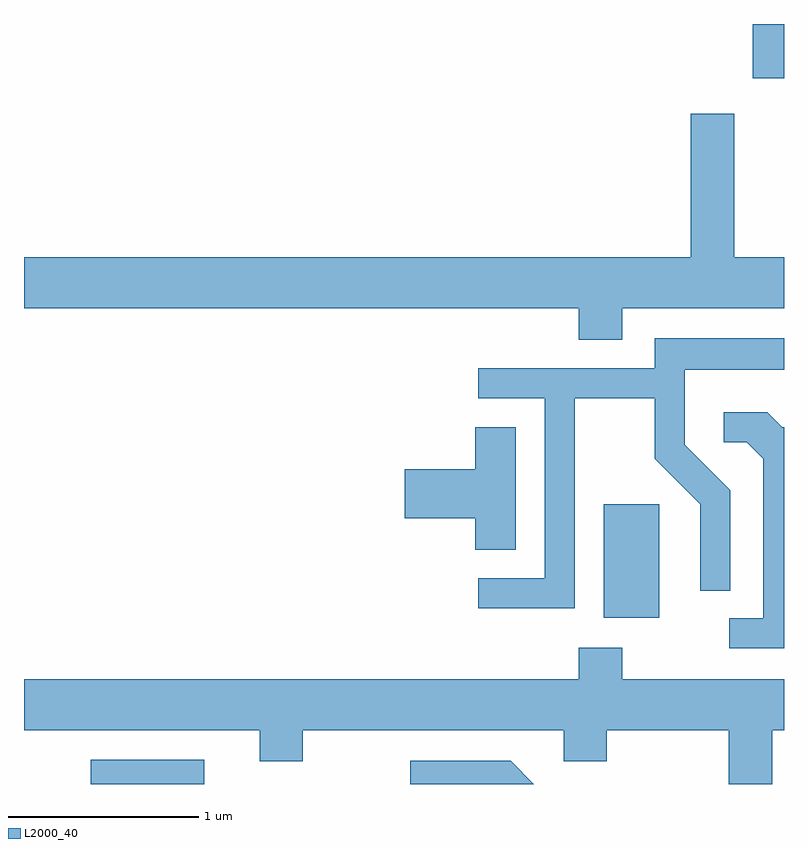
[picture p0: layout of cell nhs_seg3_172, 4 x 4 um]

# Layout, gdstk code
import gdstk
lib = gdstk.Library(unit=1e-6, precision=1e-09)
def R(c, l, rs):  # rectangles x0, y0, x1, y1
    for r in rs: c.add(gdstk.rectangle(r[:2], r[2:], *l))
def P(c, l, *ps):  # polygons
    for p in ps: c.add(gdstk.Polygon(p, *l))
L2000_40 = (2000, 40)

nhs_seg3_172 = lib.new_cell('nhs_seg3_172')
R(nhs_seg3_172, L2000_40, [(189.963,1187.892,190.559,1188.019), (192.661,1188.766,192.954,1189.364), (193.446,1191.606,193.611,1191.892)])
P(nhs_seg3_172, L2000_40, [(192.759,1190.396),(193.611,1190.396),(193.611,1190.664),(193.349,1190.664),(193.349,1191.419),(193.121,1191.419),(193.121,1190.664),(189.611,1190.664),(189.611,1190.396),(192.531,1190.396),(192.531,1190.231),(192.759,1190.231)],
  [(192.509,1189.921),(192.931,1189.921),(192.931,1189.604),(193.171,1189.364),(193.171,1188.908),(193.329,1188.908),(193.329,1189.437),(193.089,1189.677),(193.089,1190.071),(193.611,1190.071),(193.611,1190.239),(192.931,1190.239),(192.931,1190.079),(192.003,1190.079),(192.003,1189.921),(192.351,1189.921),(192.351,1188.974),(192.003,1188.974),(192.003,1188.816),(192.509,1188.816)],
  [(193.611,1189.769),(193.602,1189.769),(193.522,1189.849),(193.293,1189.849),(193.293,1189.691),(193.414,1189.691),(193.501,1189.604),(193.501,1188.764),(193.323,1188.764),(193.323,1188.606),(193.611,1188.606)],
  [(192.199,1189.769),(191.986,1189.769),(191.986,1189.549),(191.616,1189.549),(191.616,1189.291),(191.986,1189.291),(191.986,1189.126),(192.199,1189.126)],
  [(193.549,1188.176),(193.611,1188.176),(193.611,1188.444),(192.759,1188.444),(192.759,1188.609),(192.531,1188.609),(192.531,1188.444),(189.611,1188.444),(189.611,1188.176),(190.851,1188.176),(190.851,1188.011),(191.079,1188.011),(191.079,1188.176),(192.451,1188.176),(192.451,1188.011),(192.679,1188.011),(192.679,1188.176),(193.321,1188.176),(193.321,1187.892),(193.549,1187.892)],
  [(192.172,1188.014),(191.643,1188.014),(191.643,1187.892),(192.294,1187.892)])

lib.write_gds('nhs_seg3_172.gds')
